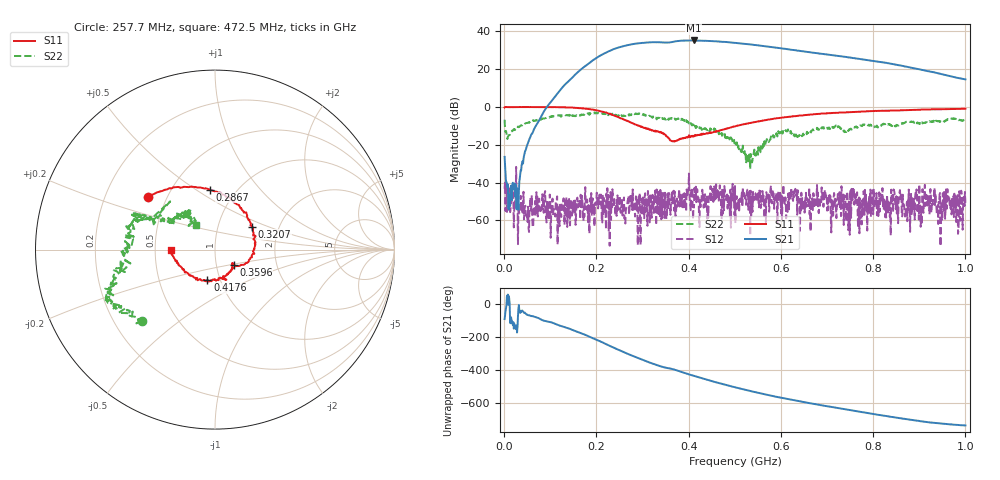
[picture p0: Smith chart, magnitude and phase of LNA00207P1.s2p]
! Created with skrf 1.9.0 (http://scikit-rf.org).
# Hz S RI R 50.0
!freq ReS11 ImS11 ReS21 ImS21 ReS12 ImS12 ReS22 ImS22
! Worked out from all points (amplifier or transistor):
!   1001 points, 1 MHz to 1 GHz, reference 50 ohm
!   highest |S21| = 35.1 dB at 410.6 MHz (marker M1)
!   |S21| within 3 dB of that: 259 MHz to 564.7 MHz (305.7 MHz wide, 74.2 % of centre)
!   unconditionally stable (mu >= 1): start of sweep to 98.6 MHz; 235.2 MHz to 400.1 MHz; 401.2 MHz to end of sweep (the widest 3 of 20)
!   at 166.8 MHz: K = 1.21, MAG = 32.8 dB, |S12| = -51.2 dB
!   at 500.5 MHz: K = 1.34, MAG = 34.4 dB, |S12| = -41.8 dB
!   at 1 GHz: K = 4.62, MAG = 23.0 dB, |S12| = -50.6 dB
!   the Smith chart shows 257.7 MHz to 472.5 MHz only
!   S11 on the Smith chart (normalised r, x): 257.7 MHz: 0.39, +0.30; 286.7 MHz: 0.76, +0.57; 320.7 MHz: 1.46, +0.40; 359.6 MHz: 1.21, -0.21; 417.6 MHz: 0.87, -0.31; 472.5 MHz: 0.60, -0.01
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1000000  0.9731 -0.00362  -0.00138 -0.0479  -0.00693 -0.000326  0.3137 0.3345
1.07893e8  0.5137 -0.8472  -0.7881 -1.526  -0.00165 0.00106  0.4286 -0.382
1.67833e8  -0.2565 -0.8867  -10.12 -0.3465  0.000626 0.00215  0.0227 -0.6323
2.14786e8  -0.6887 -0.2811  -14.36 20.46  -0.00145 0.0001  -0.2052 -0.6223
2.39761e8  -0.5705 0.1137  -1.647 34.48  0.00188 -0.00192  -0.3139 -0.528
2.57743e8  -0.3745 0.2938  13.41 37.94  -0.00146 -0.00109  -0.408 -0.3954
2.86714e8  -0.0296 0.3348  37.75 28.37  -0.00167 0.000922  -0.586 -0.2784
3.2068e8  0.2077 0.1286  51.28 0.3037  -0.00168 0.00205  -0.5255 -0.1012
3.34666e8  0.2202 0.0104  49.98 -11.5  0.000124 0.00132  -0.5083 -0.0339
3.59641e8  0.1032 -0.0833  43.69 -26  -8.44e-05 -0.00258  -0.4717 0.1364
3.8062e8  0.0942 -0.1028  37.74 -41.36  0.000644 0.00225  -0.4411 0.182
4.1059e8  -0.00335 -0.1693  15.24 -55.07  -0.00096 0.00231  -0.2914 0.1758
4.17583e8  -0.0424 -0.1706  9.552 -55.82  0.00339 0.0013  -0.2501 0.1717
4.43557e8  -0.1605 -0.1259  -10.67 -54.26  0.00309 0.0036  -0.1701 0.2012
4.72528e8  -0.2465 -0.00466  -28.56 -44.04  0.00593 -0.00367  -0.1073 0.1348
5.005e8  -0.2674 0.1476  -40 -29.4  0.00453 -0.00674  -0.0984 0.0615
5.39461e8  -0.189 0.3417  -43.39 -7.547  0.00547 -0.00161  -0.0475 -0.00363
5.88412e8  0.023 0.4969  -34.85 12.9  0.00347 -0.000765  -0.1413 -0.098
6.67333e8  0.4038 0.4883  -12.58 24.14  0.000848 -0.00281  -0.2379 -0.0393
7.53247e8  0.6798 0.2748  4.553 19.3  0.00342 -0.00593  -0.251 0.0103
8.34166e8  0.7983 0.00843  10.91 9.078  -0.000307 -0.00203  -0.3484 -0.0152
1e9  0.7214 -0.5326  5.183 -1.339  -0.0026 0.00139  -0.3609 0.2655
